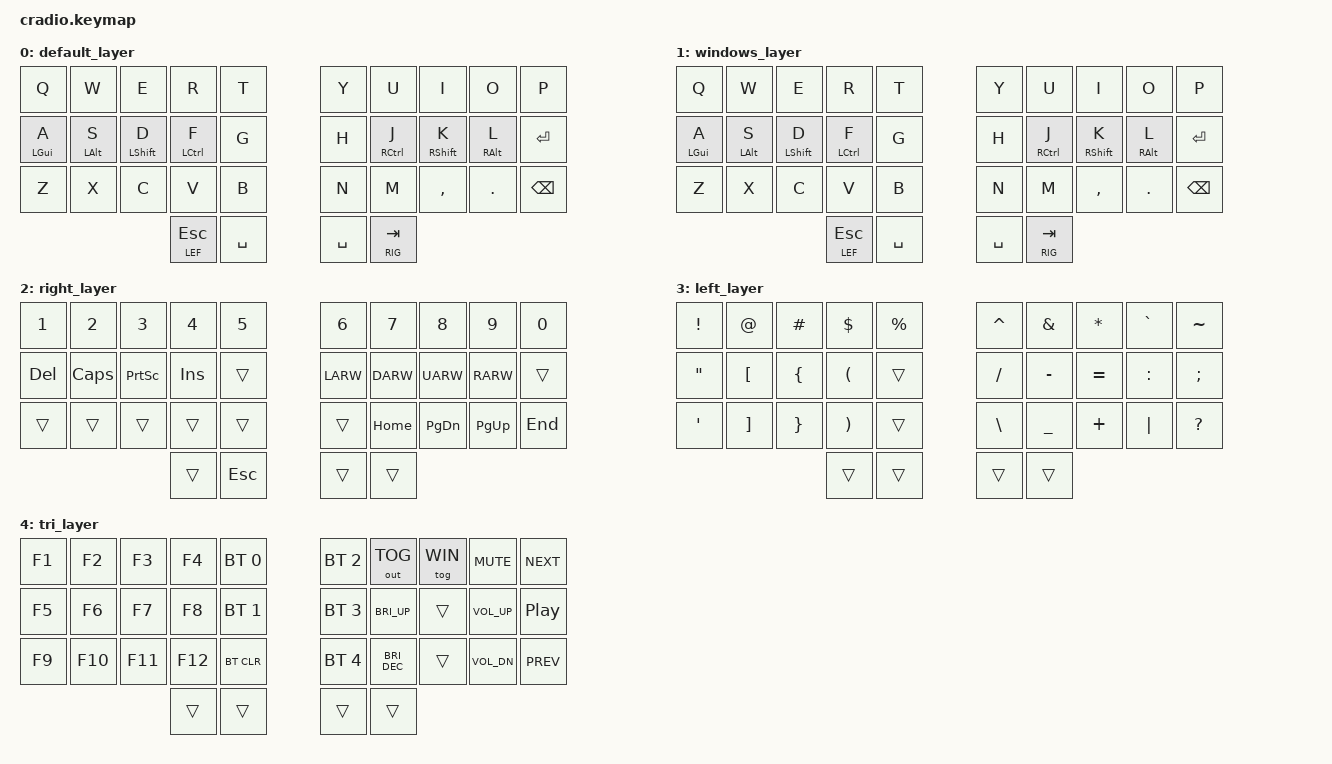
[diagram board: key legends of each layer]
// Copyright (c) 2022 The ZMK Contributors
// SPDX-License-Identifier: MIT

#include <behaviors.dtsi>
#include <dt-bindings/zmk/keys.h>
#include <dt-bindings/zmk/bt.h>
#include <dt-bindings/zmk/outputs.h>

// Home row mods macro
//#define HRML(k2,k3,k4) &ht LALT k2  &ht LCTRL k3  &ht LGUI k4
//#define HRMR(k1,k2,k3) &ht RGUI k1  &ht RCTRL k2  &ht RALT k3
//#define WHRML(k2,k3,k4) &ht LALT k2  &ht LGUI k3  &ht LCTRL k4
// #define WHRMR(k1,k2,k3) &ht RCTRL k1  &ht RGUI k2  &ht RALT k3

#define MAC 0
#define WIN 1
#define RIG 2
#define LEF 3
#define TRI 4

/ {
    behaviors {
        ht: hold_tap {
            label = "hold_tap";
            compatible = "zmk,behavior-hold-tap";
            #binding-cells = <2>;
            flavor = "tap-preferred";
            tapping-term-ms = <175>;
            quick-tap-ms = <125>;
            global-quick-tap;
            bindings = <&kp>, <&kp>;
        };
    };

    conditional_layers {
        compatible = "zmk,conditional-layers";
        tri_layer {
            if-layers = <RIG LEF>;
            then-layer = <TRI>;
        };
    };

    keymap {
        compatible = "zmk,keymap";
        default_layer {
            bindings = <
        //╭──────────┬──────────┬──────────┬──────────┬──────────╮   ╭──────────┬──────────┬──────────┬──────────┬──────────╮
        //│  Q       │  W       │  E       │  R       │  T       │   │  Y       │  U       │  I       │  O       │  P       │
            &kp Q      &kp W      &kp E      &kp R      &kp T          &kp Y      &kp U      &kp I      &kp O      &kp P
        //├──────────┼──────────┼──────────┼──────────┼──────────┤   ├──────────┼──────────┼──────────┼──────────┼──────────┤
        //│  A       │  S       │  D       │  F       │  G       │   │  H       │  J       │  K       │  L       │ENTER │
            &ht LGUI A  &ht LALT S  &ht LSHIFT D  &ht LCTRL F     &kp G          &kp H      &ht RCTRL J  &ht RSHIFT K &ht RALT L  &kp ENTER
        //├──────────┼──────────┼──────────┼──────────┼──────────┤   ├──────────┼──────────┼──────────┼──────────┼──────────┤
        //│  Z       │  X       │  C       │  V       │  B       │   │  N       │  M       │ , <      │ . >      │ BACKSPACE    │
            &kp Z      &kp X      &kp C      &kp V      &kp B          &kp N      &kp M      &kp COMMA  &kp DOT    &kp BSPC
        //╰──────────┴──────────┴──────────┼──────────┼──────────┤   ├──────────┼──────────┼──────────┴──────────┴──────────╯
                                           &lt LEF ESC  &kp SPACE    &kp SPACE  &lt RIG TAB
        //                                 ╰──────────┴──────────╯   ╰──────────┴──────────╯
            >;
        };

        windows_layer {
            bindings = <
        //╭──────────┬──────────┬──────────┬──────────┬──────────╮   ╭──────────┬──────────┬──────────┬──────────┬──────────╮
        //│  Q       │  W       │  E       │  R       │  T       │   │  Y       │  U       │  I       │  O       │  P       │
            &kp Q      &kp W      &kp E      &kp R      &kp T          &kp Y      &kp U      &kp I      &kp O      &kp P
        //├──────────┼──────────┼──────────┼──────────┼──────────┤   ├──────────┼──────────┼──────────┼──────────┼──────────┤
        //│  A       │  S       │  D       │  F       │  G       │   │  H       │  J       │  K       │  L       │ENTER │
            &ht LGUI A  &ht LALT S  &ht LSHIFT D  &ht LCTRL F     &kp G          &kp H      &ht RCTRL J  &ht RSHIFT K &ht RALT L  &kp ENTER
        //├──────────┼──────────┼──────────┼──────────┼──────────┤   ├──────────┼──────────┼──────────┼──────────┼──────────┤
        //│  Z       │  X       │  C       │  V       │  B       │   │  N       │  M       │ , <      │ . >      │ BACKSPACE    │
            &kp Z      &kp X      &kp C      &kp V      &kp B          &kp N      &kp M      &kp COMMA  &kp DOT    &kp BSPC
        //╰──────────┴──────────┴──────────┼──────────┼──────────┤   ├──────────┼──────────┼──────────┴──────────┴──────────╯
                                           &lt LEF ESC  &kp SPACE    &kp SPACE  &lt RIG TAB
        //                                 ╰──────────┴──────────╯   ╰──────────┴──────────╯
            >;
        };

        right_layer {
            bindings = <
        //╭──────────┬──────────┬──────────┬──────────┬──────────╮   ╭──────────┬──────────┬──────────┬──────────┬──────────╮
        //│ 1        │  2       │  3       │  4       │  5       │   │ 6        │ 7        │ 8        │ 9        │   0      │
            &kp N1    &kp N2     &kp N3     &kp N4     &kp N5          &kp N6     &kp N7     &kp N8     &kp N9      &kp N0
        //├──────────┼──────────┼──────────┼──────────┼──────────┤   ├──────────┼──────────┼──────────┼──────────┼──────────┤
        //│ DELETE   │ CapsLock │ PrintSc  │  INSERT  │          |   │ LEFT     │ DOWN     │ UP       │ RIGHT    │          |
            &kp DEL   &kp CAPS   &kp PSCRN  &kp INS     &trans         &kp LARW   &kp DARW   &kp UARW   &kp RARW    &trans 
        //├──────────┼──────────┼──────────┼──────────┼──────────┤   ├──────────┼──────────┼──────────┼──────────┼──────────┤
        //│          │          │          │          │          │   │          │ HOME     │ PAGE DN  │ PAGE UP  │ END      │
            &trans    &trans     &trans     &trans      &trans           &trans     &kp HOME   &kp PG_DN  &kp PG_UP  &kp END 
        //╰──────────┴──────────┴──────────┼──────────┼──────────┤   ├──────────┼──────────┼──────────┴──────────┴──────────╯
                                             &trans     &kp ESC        &trans     &trans
        //                                 ╰──────────┴──────────╯   ╰──────────┴──────────╯
            >;
        };

        left_layer {
            bindings = <
        //╭──────────┬──────────┬──────────┬──────────┬──────────╮   ╭──────────┬──────────┬──────────┬──────────┬──────────╮
        //│  !       │  @       │  #       │  $       │  %       │   │  ^       │  &       │  *       │  `       │  ~       │
            &kp EXCL   &kp AT     &kp HASH   &kp DLLR   &kp PRCNT      &kp CARET  &kp AMPS   &kp ASTRK  &kp GRAVE   &kp TILDE
        //├──────────┼──────────┼──────────┼──────────┼──────────┤   ├──────────┼──────────┼──────────┼──────────┼──────────┤
        //│  "       │  [       │  {       │  (       │          │   │   /      │  -       │  =       │     :    │  ;       │
            &kp DQT  &kp LBKT   &kp LBRC   &kp LPAR   &trans         &kp FSLH   &kp MINUS  &kp EQUAL  &kp COLON   &kp SEMI
        //├──────────┼──────────┼──────────┼──────────┼──────────┤   ├──────────┼──────────┼──────────┼──────────┼──────────┤
        //│  '       │  ]       │  }       │  )       │          │   │    \     │  _       │  +       │  │       │   ?      │
            &kp SQT     &kp RBKT   &kp RBRC   &kp RPAR   &trans         &kp BSLH   &kp UNDER  &kp PLUS   &kp PIPE  &kp QMARK
        //╰──────────┴──────────┴──────────┼──────────┼──────────┤   ├──────────┼──────────┼──────────┴──────────┴──────────╯
                                             &trans     &trans         &trans     &trans
        //                                 ╰──────────┴──────────╯   ╰──────────┴──────────╯
            >;
        };

        tri_layer {
            bindings = <
        //╭──────────┬──────────┬──────────┬───────────┬────────────╮   ╭────────────┬────────────┬──────────┬───────────┬──────────╮
        //│  F1      │  F2      │  F3      │  F4       │ PROFILE 0  │   │ PROFILE 2  │ TOGGLEOUT  │ WINDOWS  │ VOL MUTE  │ NEXTSONG │
            &kp F1     &kp F2     &kp F3     &kp F4     &bt BT_SEL 0     &bt BT_SEL 2  &out OUT_TOG &tog WIN  &kp C_MUTE  &kp C_NEXT
        //├──────────┼──────────┼──────────┼───────────┼────────────┤   ├────────────┼────────────┼──────────┼───────────┼──────────┤
        //│  F5      │  F6      │  F7      │  F8       │ PROFILE 1  │   │ PROFILE 3  │ INC BRIGHT │          │  VOL UP   │PAUSEMUSIC│
            &kp F5     &kp F6     &kp F7     &kp F8     &bt BT_SEL 1     &bt BT_SEL 3  &kp C_BRI_UP  &trans   &kp C_VOL_UP  &kp C_PP
        //├──────────┼──────────┼──────────┼───────────┼────────────┤   ├────────────┼────────────┼──────────┼───────────┼──────────┤
        //│  F9      │  F10     │  F11     │  F12      │  CLEAR BT  │   │ PROFILE 4  │ DEC BRIGHT │          |  VOL DOWN │ PREVSONG │
            &kp F9     &kp F10    &kp F11    &kp F12     &bt BT_CLR      &bt BT_SEL 4  &kp C_BRI_DEC  &trans   &kp C_VOL_DN &kp C_PREV
        //╰──────────┴──────────┴──────────┼───────────┼────────────┤   ├────────────┼────────────┼──────────┴───────────┴──────────╯
                                                &trans     &trans         &trans     &trans
        //                                  ╰───────────┴──────────╯   ╰──────────┴────────────╯
            >;
        };
    };
};
